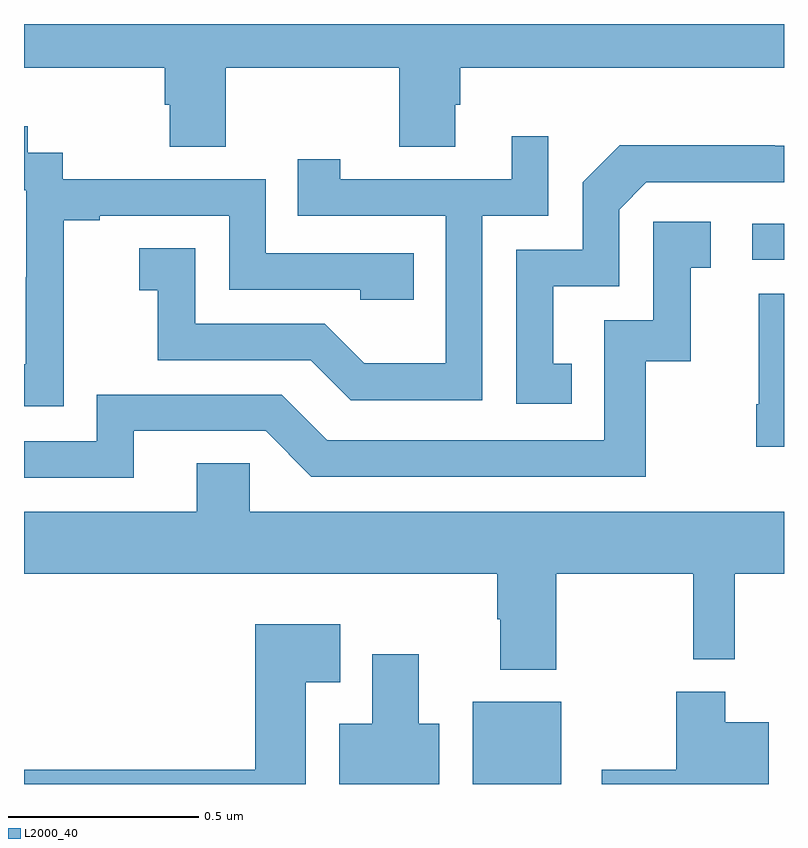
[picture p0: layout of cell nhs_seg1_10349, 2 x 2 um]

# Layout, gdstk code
import gdstk
lib = gdstk.Library(unit=1e-6, precision=1e-09)
def R(c, l, rs):  # rectangles x0, y0, x1, y1
    for r in rs: c.add(gdstk.rectangle(r[:2], r[2:], *l))
def P(c, l, *ps):  # polygons
    for p in ps: c.add(gdstk.Polygon(p, *l))
L2000_40 = (2000, 40)

nhs_seg1_10349 = lib.new_cell('nhs_seg1_10349')
R(nhs_seg1_10349, L2000_40, [(241.181,531.199,241.414,531.415), (241.917,532.578,242,532.674)])
P(nhs_seg1_10349, L2000_40, [(240.531,533.084),(240.988,533.084),(240.988,532.876),(241.135,532.876),(241.135,532.986),(241.148,532.986),(241.148,533.084),(242,533.084),(242,533.199),(240,533.199),(240,533.084),(240.371,533.084),(240.371,532.986),(240.383,532.986),(240.383,532.876),(240.531,532.876)],
  [(240.105,532.399),(240.104,532.399),(240.104,532.683),(240.199,532.683),(240.199,532.695),(240.54,532.695),(240.54,532.5),(240.885,532.5),(240.885,532.473),(241.025,532.473),(241.025,532.596),(240.636,532.596),(240.636,532.791),(240.102,532.791),(240.102,532.86),(240.01,532.86),(240.01,532.93),(240,532.93),(240,532.761),(240.006,532.761),(240.006,532.532),(240.005,532.532),(240.005,532.303),(240,532.303),(240,532.193),(240.105,532.193)],
  [(241.206,532.695),(241.38,532.695),(241.38,532.903),(241.283,532.903),(241.283,532.791),(240.832,532.791),(240.832,532.843),(240.721,532.843),(240.721,532.695),(241.11,532.695),(241.11,532.306),(240.896,532.306),(240.792,532.41),(240.45,532.41),(240.45,532.609),(240.303,532.609),(240.303,532.499),(240.352,532.499),(240.352,532.314),(240.755,532.314),(240.86,532.209),(241.206,532.209)],
  [(241.442,532.305),(241.393,532.305),(241.393,532.509),(241.566,532.509),(241.566,532.71),(241.638,532.782),(242,532.782),(242,532.878),(241.976,532.878),(241.976,532.88),(241.568,532.88),(241.47,532.782),(241.47,532.605),(241.296,532.605),(241.296,532.2),(241.442,532.2)],
  [(240.289,532.128),(240.636,532.128),(240.756,532.008),(241.636,532.008),(241.636,532.311),(241.754,532.311),(241.754,532.557),(241.807,532.557),(241.807,532.678),(241.656,532.678),(241.656,532.419),(241.527,532.419),(241.527,532.104),(240.798,532.104),(240.678,532.224),(240.192,532.224),(240.192,532.101),(240,532.101),(240,532.005),(240.289,532.005)],
  [(242,532.489),(241.934,532.489),(241.934,532.198),(241.927,532.198),(241.927,532.086),(242,532.086)],
  [(241.401,531.752),(241.761,531.752),(241.761,531.527),(241.871,531.527),(241.871,531.752),(242,531.752),(242,531.916),(240.594,531.916),(240.594,532.043),(240.455,532.043),(240.455,531.916),(240,531.916),(240,531.752),(241.246,531.752),(241.246,531.632),(241.253,531.632),(241.253,531.5),(241.401,531.5)],
  [(240.742,531.467),(240.832,531.467),(240.832,531.619),(240.608,531.619),(240.608,531.236),(240,531.236),(240,531.199),(240.742,531.199)],
  [(241.093,531.358),(241.039,531.358),(241.039,531.541),(240.917,531.541),(240.917,531.358),(240.83,531.358),(240.83,531.199),(241.093,531.199)],
  [(241.96,531.361),(241.846,531.361),(241.846,531.442),(241.717,531.442),(241.717,531.236),(241.521,531.236),(241.521,531.199),(241.96,531.199)])

lib.write_gds('nhs_seg1_10349.gds')
